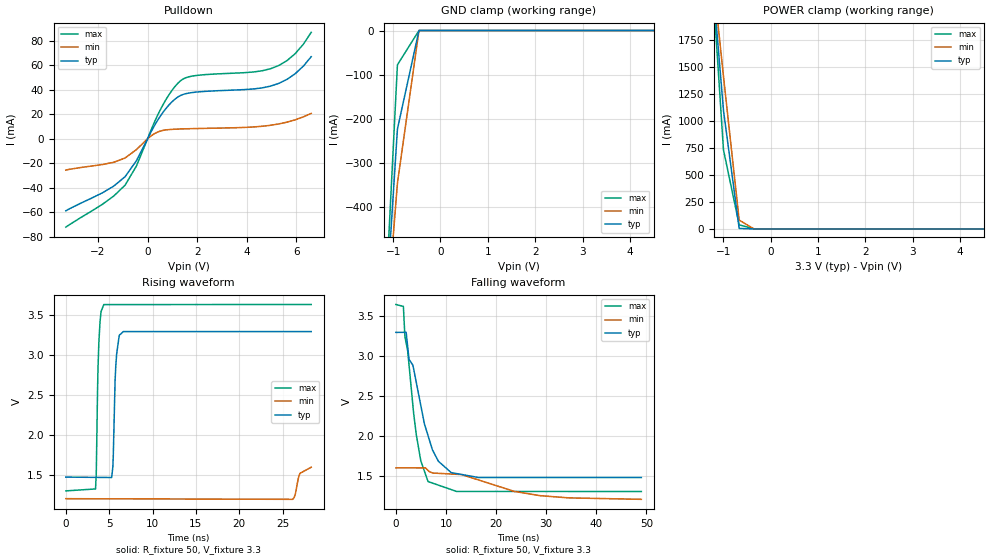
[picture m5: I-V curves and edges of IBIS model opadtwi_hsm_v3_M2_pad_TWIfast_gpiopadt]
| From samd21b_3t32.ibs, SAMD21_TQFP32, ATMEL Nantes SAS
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|   MODEL : opadtwi_hsm_v3_M2_pad_TWIfast_gpiopadt
[Model] opadtwi_hsm_v3_M2_pad_TWIfast_gpiopadt
Model_type I/O_open_sink
Vinl  =  0.99
Vinh  =  2.31
Vmeas =  1.650
| Capacitance   typ   min   max
C_comp   2.23117711257e-12   2.18575963294e-12   2.39432109665e-12
| Variables   typ   min   max
[GND Clamp Reference]   0   0   0
[POWER Clamp Reference]   3.3   1.6   3.65
[Pulldown Reference]   0   0   0
[Pullup Reference]   3.3   1.6   3.65
[Temperature Range]   25   105   -40
[Voltage Range]   3.3   1.6   3.65
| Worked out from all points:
|   slope of the pulldown table from 0 to 0.495 V, typ, clamps not added: 27.5 ohm
|   rising waveform, R_fixture 50, V_fixture 3.3: 20-80 % time 309ps typ, 500ps min, 269ps max; typ from 1.47 V to 3.3 V
|   falling waveform, R_fixture 50, V_fixture 3.3: 20-80 % time 4.32ns typ, 14ns min, 2.73ns max; typ from 3.3 V to 1.48 V
[GND Clamp]
| Voltage   I(typ)   I(min)   I(max)
-3.3V     -4.288A    -3.659A    -5.225A
-1.364V   -989.3mA   -964.6mA   -1.051A
-909.1mV  -223.9mA   -346.9mA   -77.99mA
-454.5mV  -44.57uA   -143.5uA   -23.5uA
6.6V      0A         0A         0A
[POWER Clamp]
| Voltage   I(typ)   I(min)   I(max)
-3.3V     13.48A     11.29A     16.51A
-1.327V   2.843A     2.803A     2.962A
-995.5mV  1.1A       1.415A     734.3mA
-663.6mV  4.961mA    82.03mA    38.25mA
-350mV    12.03uA    42.13uA    545.4uA
6.6V      0A         0A         0A
[Pulldown]
| Voltage   I(typ)   I(min)   I(max)
-3.3V     -58.92mA   -25.62mA   -72.28mA
-1.818V   -44.15mA   -21.05mA   -53.51mA
-909.1mV  -31.03mA   -15.71mA   -37.94mA
-454.5mV  -18.04mA   -8.889mA   -22.4mA
154.7mV   6.271mA    2.589mA    7.903mA
567.2mV   20.13mA    6.624mA    25.84mA
979.7mV   30.13mA    7.702mA    39.48mA
1.341V    35.53mA    8.039mA    47.65mA
1.959V    38.2mA     8.382mA    51.77mA
4.959V    43.09mA    11.05mA    57.32mA
5.955V    53.26mA    15.53mA    69.67mA
6.6V      67.18mA    20.78mA    87.09mA
[Ramp]
dV/dt_r   1.09591/0.311519n  0.237974/0.508085n  1.40951/0.275253n
dV/dt_f   1.09591/4.3325n  0.237974/14.0685n  1.40951/2.73805n
R_load = 50
[Rising Waveform]
R_fixture = 50
V_fixture = 3.3
V_fixture_min = 1.6
V_fixture_max = 3.65
| Time   V(typ)   V(min)   V(max)
0s        1.473V     1.203V     1.301V
3.429ns   1.47V      1.202V     1.325V
3.808ns   1.47V      1.202V     3.148V
4.382ns   1.469V     1.202V     3.633V
5.288ns   1.469V     1.202V     3.633V
5.425ns   1.604V     1.202V     3.633V
5.867ns   3.018V     1.202V     3.634V
6.639ns   3.296V     1.201V     3.634V
26.16ns   3.296V     1.195V     3.634V
28.3ns    3.296V     1.597V     3.635V
[Falling Waveform]
R_fixture = 50
V_fixture = 3.3
V_fixture_min = 1.6
V_fixture_max = 3.65
| Time   V(typ)   V(min)   V(max)
0s        3.3V       1.6V       3.65V
1.49ns    3.301V     1.6V       3.626V
1.79ns    3.301V     1.6V       3.248V
2.352ns   3.117V     1.6V       3.067V
4.071ns   2.67V      1.6V       2.013V
6.41ns    2.005V     1.568V     1.428V
8.478ns   1.683V     1.531V     1.383V
11.03ns   1.541V     1.523V     1.328V
28.82ns   1.479V     1.251V     1.304V
48.99ns   1.479V     1.205V     1.304V
